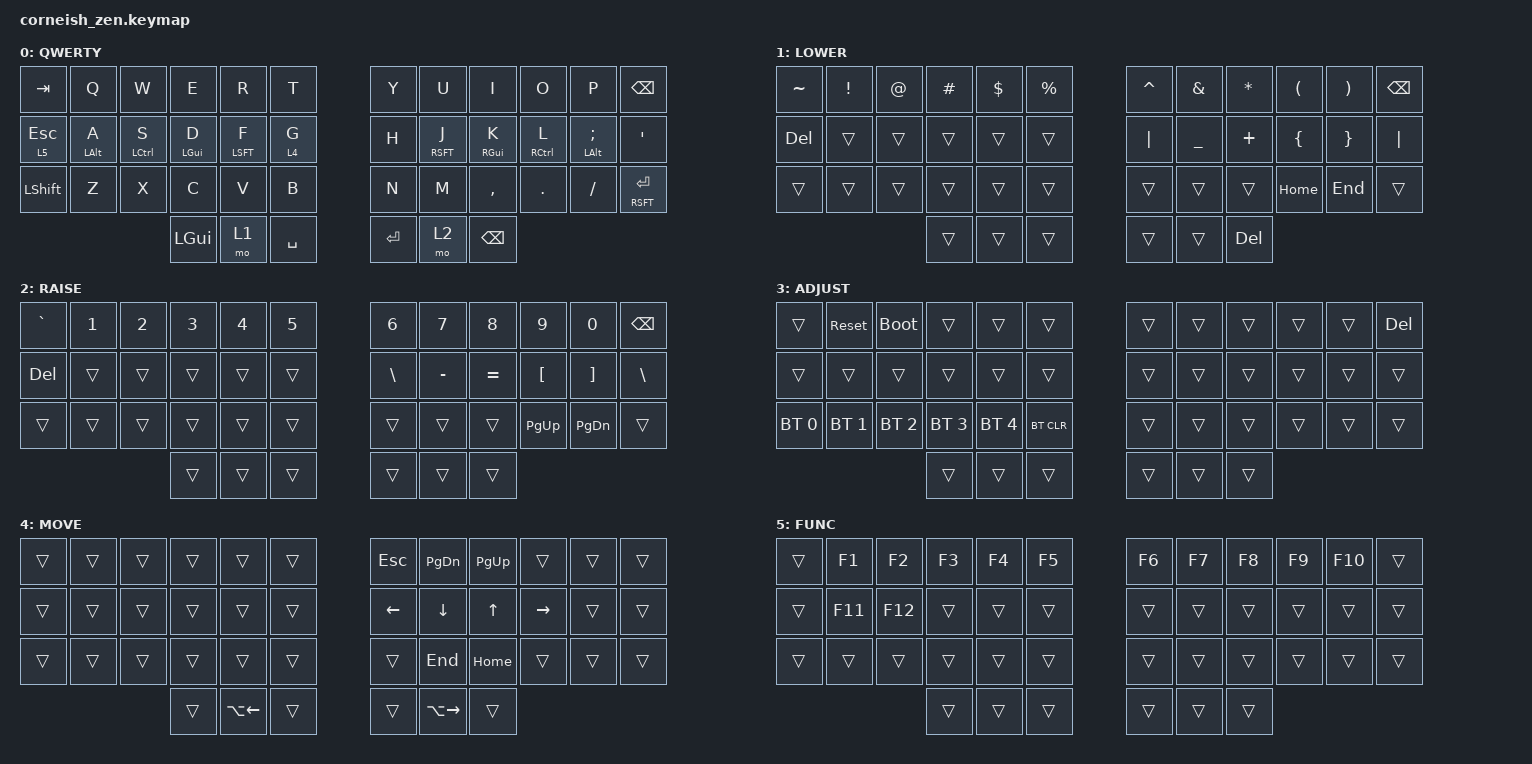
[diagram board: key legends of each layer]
/*
 * Copyright (c) 2020 The ZMK Contributors
 *
 * SPDX-License-Identifier: MIT
 */

#include <behaviors.dtsi>
#include <dt-bindings/zmk/keys.h>
#include <dt-bindings/zmk/bt.h>

/ {
    keymap {
        compatible = "zmk,keymap";

        // Layer 0: QWERTY with Home Row Mods (ACGS)
        // Left:  A=Alt, S=Ctrl, D=GUI, F=Shift
        // Right: J=Shift, K=GUI, L=Ctrl, ;=Alt
        // G-hold activates movement/navigation layer
        // Esc-hold activates function layer
        //
        // ,-----------------------------------------.                    ,-----------------------------------------.
        // | Tab  |   Q  |   W  |   E  |   R  |   T  |                    |   Y  |   U  |   I  |   O  |   P  | Bksp |
        // |------+------+------+------+------+------|                    |------+------+------+------+------+------|
        // |Esc/Fn| A/Alt| S/Ctl| D/GUI| F/Sft| G/Mov|                    |   H  | J/Sft| K/GUI| L/Ctl| ;/Alt|  '   |
        // |------+------+------+------+------+------|                    |------+------+------+------+------+------|
        // |LShift|   Z  |   X  |   C  |   V  |   B  |                    |   N  |   M  |   ,  |   .  |   /  |Sft/En|
        // `------+------+------+------+------+------'                    `------+------+------+------+------+------'
        //                     | GUI  |Lower |Space |                    | Enter|Raise | Bksp |
        //                     `--------------------'                    `--------------------'
        default_layer {
            label = "QWERTY";
            bindings = <
   &kp TAB       &kp Q         &kp W         &kp E         &kp R            &kp T              &kp Y     &kp U            &kp I         &kp O         &kp P              &kp BSPC
   &lt 5 ESC     &mt LALT A    &mt LCTL S    &mt LGUI D    &mt LSFT F       &lt 4 G            &kp H     &mt RSFT J       &mt RGUI K    &mt RCTL L    &mt LALT SEMI      &kp SQT
   &kp LSHFT     &kp Z         &kp X         &kp C         &kp V            &kp B              &kp N     &kp M            &kp COMMA     &kp DOT       &kp FSLH           &mt RSFT RET
                                             &kp LGUI      &mo 1            &kp SPACE          &kp RET   &mo 2            &kp BSPC
            >;
        };

        // Layer 1: LOWER
        //
        // ,-----------------------------------------.                    ,-----------------------------------------.
        // |   ~  |   !  |   @  |   #  |   $  |   %  |                    |   ^  |   &  |   *  |   (  |   )  | Bksp |
        // |------+------+------+------+------+------|                    |------+------+------+------+------+------|
        // | Del  |      |      |      |      |      |                    |   |  |   _  |   +  |   {  |   }  |  |   |
        // |------+------+------+------+------+------|                    |------+------+------+------+------+------|
        // |      |      |      |      |      |      |                    |      |      |      | Home | End  |      |
        // `------+------+------+------+------+------'                    `------+------+------+------+------+------'
        //                     | GUI  |Lower |Space |                    | Enter|Raise | Del  |
        //                     `--------------------'                    `--------------------'
        lower_layer {
            label = "LOWER";
            bindings = <
   &kp TILDE     &kp EXCL      &kp AT        &kp HASH      &kp DLLR         &kp PRCNT          &kp CARET &kp AMPS         &kp ASTRK     &kp LPAR      &kp RPAR           &kp BSPC
   &kp DEL       &trans        &trans        &trans        &trans           &trans             &kp PIPE  &kp UNDER        &kp PLUS      &kp LBRC      &kp RBRC           &kp PIPE
   &trans        &trans        &trans        &trans        &trans           &trans             &trans    &trans           &trans        &kp HOME      &kp END            &trans
                                             &trans        &trans           &trans             &trans    &trans           &kp DEL
            >;
        };

        // Layer 2: RAISE
        //
        // ,-----------------------------------------.                    ,-----------------------------------------.
        // |   `  |   1  |   2  |   3  |   4  |   5  |                    |   6  |   7  |   8  |   9  |   0  | Bksp |
        // |------+------+------+------+------+------|                    |------+------+------+------+------+------|
        // | Del  |      |      |      |      |      |                    |   \  |   -  |   =  |   [  |   ]  |  \   |
        // |------+------+------+------+------+------|                    |------+------+------+------+------+------|
        // |      |      |      |      |      |      |                    |      |      |      | PgUp | PgDn |      |
        // `------+------+------+------+------+------'                    `------+------+------+------+------+------'
        //                     | GUI  |Lower |Space |                    | Enter|Raise | Bksp |
        //                     `--------------------'                    `--------------------'
        raise_layer {
            label = "RAISE";
            bindings = <
   &kp GRAVE     &kp N1        &kp N2        &kp N3        &kp N4           &kp N5             &kp N6    &kp N7           &kp N8        &kp N9        &kp N0             &kp BSPC
   &kp DEL       &trans        &trans        &trans        &trans           &trans             &kp BSLH  &kp MINUS        &kp EQUAL     &kp LBKT      &kp RBKT           &kp BSLH
   &trans        &trans        &trans        &trans        &trans           &trans             &trans    &trans           &trans        &kp PG_UP     &kp PG_DN          &trans
                                             &trans        &trans           &trans             &trans    &trans           &trans
            >;
        };

        // Layer 3: ADJUST
        //
        // ,-----------------------------------------.                    ,-----------------------------------------.
        // |      | Reset|Debug |      |      |      |                    |      |      |      |      |      | Del  |
        // |------+------+------+------+------+------|                    |------+------+------+------+------+------|
        // |      |      |      |      |      |      |                    |      |      |      |      |      |      |
        // |------+------+------+------+------+------|                    |------+------+------+------+------+------|
        // | BT0  | BT1  | BT2  | BT3  | BT4  |BT CLR|                    |      |      |      |      |      |      |
        // `------+------+------+------+------+------'                    `------+------+------+------+------+------'
        //                     | GUI  |Lower |Space |                    | Enter|Raise | Bksp |
        //                     `--------------------'                    `--------------------'
        adjust_layer {
            label = "ADJUST";
            bindings = <
   &trans            &sys_reset       &bootloader      &trans           &trans           &trans             &trans           &trans           &trans           &trans           &trans           &kp DEL
   &trans            &trans           &trans           &trans           &trans           &trans             &trans           &trans           &trans           &trans           &trans           &trans
   &bt BT_SEL 0      &bt BT_SEL 1     &bt BT_SEL 2     &bt BT_SEL 3     &bt BT_SEL 4     &bt BT_CLR         &trans           &trans           &trans           &trans           &trans           &trans
                                                       &trans           &trans           &trans             &trans           &trans           &trans
            >;
        };

        // Layer 4: MOVEMENT
        //
        // ,-----------------------------------------.                    ,-----------------------------------------.
        // |      |      |      |      |      |      |                    | Esc  | PgDn | PgUp |      |      |      |
        // |------+------+------+------+------+------|                    |------+------+------+------+------+------|
        // |      |      |      |      |      |      |                    | Left | Down |  Up  |Right |      |      |
        // |------+------+------+------+------+------|                    |------+------+------+------+------+------|
        // |      |      |      |      |      |      |                    |      | End  | Home |      |      |      |
        // `------+------+------+------+------+------'                    `------+------+------+------+------+------'
        //                     | GUI  |L word|Space |                    | Enter|R word| Bksp |
        //                     `--------------------'                    `--------------------'
        movement_layer {
            label = "MOVE";
            bindings = <
   &trans        &trans        &trans        &trans        &trans           &trans             &kp ESC   &kp PG_DN        &kp PG_UP     &trans        &trans             &trans
   &trans        &trans        &trans        &trans        &trans           &trans             &kp LEFT  &kp DOWN         &kp UP        &kp RIGHT     &trans             &trans
   &trans        &trans        &trans        &trans        &trans           &trans             &trans    &kp END          &kp HOME      &trans        &trans             &trans
                                             &trans        &kp LA(LEFT)     &trans             &trans    &kp LA(RIGHT)    &trans
            >;
        };

        // Layer 5: FUNCTION
        //
        // ,-----------------------------------------.                    ,-----------------------------------------.
        // |      |  F1  |  F2  |  F3  |  F4  |  F5  |                    |  F6  |  F7  |  F8  |  F9  | F10  |      |
        // |------+------+------+------+------+------|                    |------+------+------+------+------+------|
        // |      |  F11 |  F12 |      |      |      |                    |      |      |      |      |      |      |
        // |------+------+------+------+------+------|                    |------+------+------+------+------+------|
        // |      |      |      |      |      |      |                    |      |      |      |      |      |      |
        // `------+------+------+------+------+------'                    `------+------+------+------+------+------'
        //                     | GUI  |Lower |Space |                    | Enter|Raise | Bksp |
        //                     `--------------------'                    `--------------------'
        function_layer {
            label = "FUNC";
            bindings = <
   &trans        &kp F1        &kp F2        &kp F3        &kp F4           &kp F5             &kp F6    &kp F7           &kp F8        &kp F9        &kp F10            &trans
   &trans        &kp F11       &kp F12       &trans        &trans           &trans             &trans    &trans           &trans        &trans        &trans             &trans
   &trans        &trans        &trans        &trans        &trans           &trans             &trans    &trans           &trans        &trans        &trans             &trans
                                             &trans        &trans           &trans             &trans    &trans           &trans
            >;
        };
    };

    conditional_layers {
        compatible = "zmk,conditional-layers";
        tri_layer {
            if-layers = <1 2>;
            then-layer = <3>;
        };
    };
};
